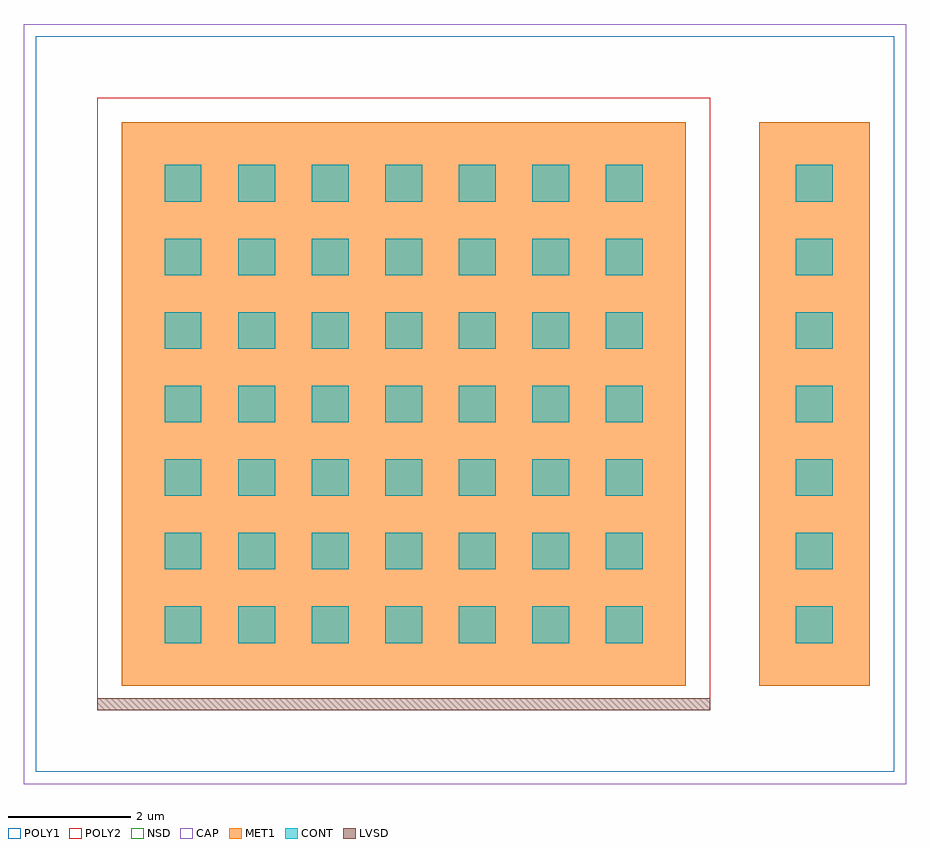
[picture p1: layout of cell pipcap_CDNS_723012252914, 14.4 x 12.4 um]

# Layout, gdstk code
import gdstk
lib = gdstk.Library(unit=1e-6, precision=1e-09)
def R(c, l, rs):  # rectangles x0, y0, x1, y1
    for r in rs: c.add(gdstk.rectangle(r[:2], r[2:], *l))
def A(c, l, x, y, w, h, nx, ny, dx, dy):  # array of equal rectangles
    R(c, l, [(x+i*dx, y+j*dy, x+i*dx+w, y+j*dy+h) for i in range(nx) for j in range(ny)])
POLY1 = (12, 0)
POLY2 = (13, 0)
NSD = (14, 0)
CONT = (31, 0)
MET1 = (32, 0)
CAP = (53, 0)
LVSD = (60, 0)

poly1cont_cdns_723012252 = lib.new_cell('poly1cont_CDNS_723012252915')
R(poly1cont_cdns_723012252, POLY1, [(0.1,0.1,1.7,9.1)])
A(poly1cont_cdns_723012252, CONT, 0.6, 0.7, 0.6, 0.6, 1, 7, 0, 1.2)
R(poly1cont_cdns_723012252, MET1, [(0,0,1.8,9.2)])

poly2cont_cdns_723012252 = lib.new_cell('poly2cont_CDNS_723012252916')
R(poly2cont_cdns_723012252, POLY2, [(0.1,0.1,9.1,9.1)])
A(poly2cont_cdns_723012252, CONT, 0.7, 0.7, 0.6, 0.6, 7, 7, 1.2, 1.2)
R(poly2cont_cdns_723012252, MET1, [(0,0,9.2,9.2)])

pipcap_cdns_723012252914 = lib.new_cell('pipcap_CDNS_723012252914')
R(pipcap_cdns_723012252914, POLY1, [(0.2,0.2,14.2,12.2)])
R(pipcap_cdns_723012252914, POLY2, [(1.2,1.2,11.2,11.2)])
R(pipcap_cdns_723012252914, NSD, [(0,0,14.4,12.4)])
R(pipcap_cdns_723012252914, CAP, [(0,0,14.4,12.4)])
R(pipcap_cdns_723012252914, LVSD, [(1.2,1.2,11.2,1.4)])
pipcap_cdns_723012252914.add(gdstk.Reference(poly1cont_cdns_723012252, (12,1.6)))
pipcap_cdns_723012252914.add(gdstk.Reference(poly2cont_cdns_723012252, (1.6,1.6)))

lib.write_gds('pipcap_CDNS_723012252914.gds')
